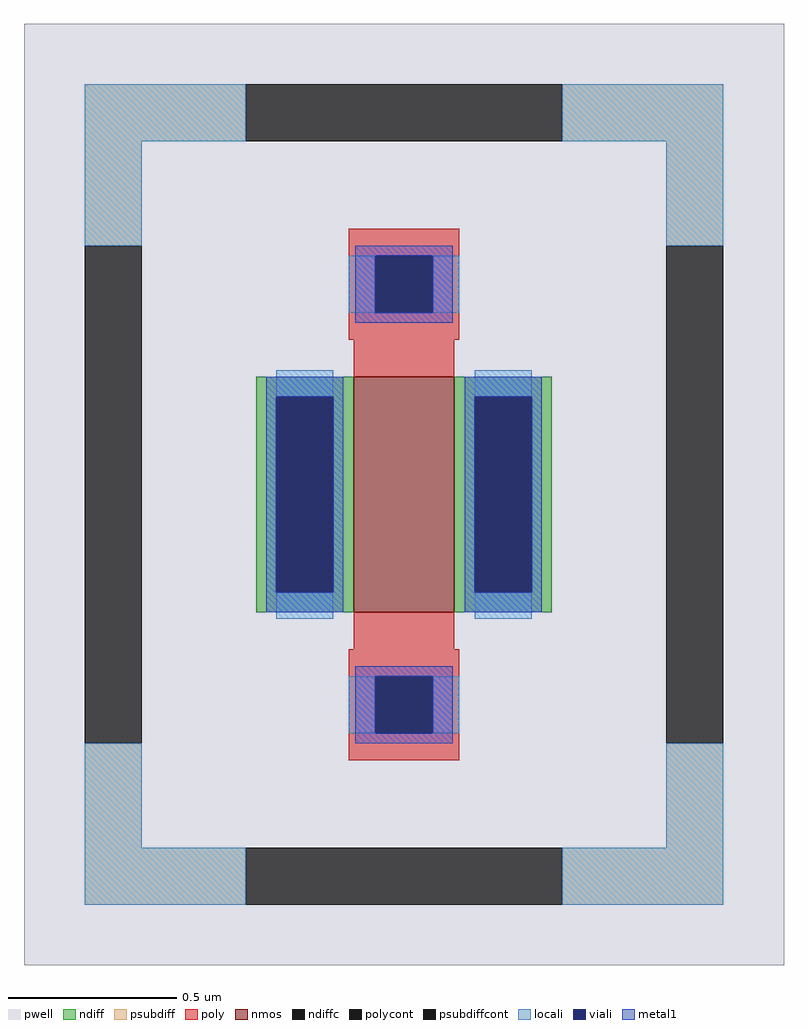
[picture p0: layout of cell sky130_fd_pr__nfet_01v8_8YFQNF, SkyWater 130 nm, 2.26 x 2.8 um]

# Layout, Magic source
magic
tech sky130A
magscale 1 2
<< pwell >>
rect -226 -280 226 280
<< nmos >>
rect -30 -70 30 70
<< ndiff >>
rect -88 58 -30 70
rect -88 -58 -76 58
rect -42 -58 -30 58
rect -88 -70 -30 -58
rect 30 58 88 70
rect 30 -58 42 58
rect 76 -58 88 58
rect 30 -70 88 -58
<< ndiffc >>
rect -76 -58 -42 58
rect 42 -58 76 58
<< psubdiff >>
rect -190 210 -94 244
rect 94 210 190 244
rect -190 148 -156 210
rect 156 148 190 210
rect -190 -210 -156 -148
rect 156 -210 190 -148
rect -190 -244 -94 -210
rect 94 -244 190 -210
<< psubdiffcont >>
rect -94 210 94 244
rect -190 -148 -156 148
rect 156 -148 190 148
rect -94 -244 94 -210
<< poly >>
rect -33 142 33 158
rect -33 108 -17 142
rect 17 108 33 142
rect -33 92 33 108
rect -30 70 30 92
rect -30 -92 30 -70
rect -33 -108 33 -92
rect -33 -142 -17 -108
rect 17 -142 33 -108
rect -33 -158 33 -142
<< polycont >>
rect -17 108 17 142
rect -17 -142 17 -108
<< locali >>
rect -190 210 -94 244
rect 94 210 190 244
rect -190 148 -156 210
rect 156 148 190 210
rect -33 108 -17 142
rect 17 108 33 142
rect -76 58 -42 74
rect -76 -74 -42 -58
rect 42 58 76 74
rect 42 -74 76 -58
rect -33 -142 -17 -108
rect 17 -142 33 -108
rect -190 -210 -156 -148
rect 156 -210 190 -148
rect -190 -244 -94 -210
rect 94 -244 190 -210
<< viali >>
rect -17 108 17 142
rect -76 -58 -42 58
rect 42 -58 76 58
rect -17 -142 17 -108
<< metal1 >>
rect -29 142 29 148
rect -29 108 -17 142
rect 17 108 29 142
rect -29 102 29 108
rect -82 58 -36 70
rect -82 -58 -76 58
rect -42 -58 -36 58
rect -82 -70 -36 -58
rect 36 58 82 70
rect 36 -58 42 58
rect 76 -58 82 58
rect 36 -70 82 -58
rect -29 -108 29 -102
rect -29 -142 -17 -108
rect 17 -142 29 -108
rect -29 -148 29 -142
<< properties >>
string FIXED_BBOX -173 -227 173 227
string gencell sky130_fd_pr__nfet_01v8
string library sky130
string parameters w 0.7 l 0.3 m 1 nf 1 diffcov 100 polycov 100 guard 1 glc 1 grc 1 gtc 1 gbc 1 tbcov 100 rlcov 100 topc 1 botc 1 poverlap 0 doverlap 1 lmin 0.15 wmin 0.42 compatible {sky130_fd_pr__nfet_01v8 sky130_fd_pr__nfet_01v8_lvt  sky130_fd_bs_flash__special_sonosfet_star  sky130_fd_pr__nfet_g5v0d10v5 sky130_fd_pr__nfet_05v0_nvt  sky130_fd_pr__nfet_03v3_nvt} full_metal 1 viasrc 100 viadrn 100 viagate 100 viagb 0 viagr 0 viagl 0 viagt 0
<< end >>
